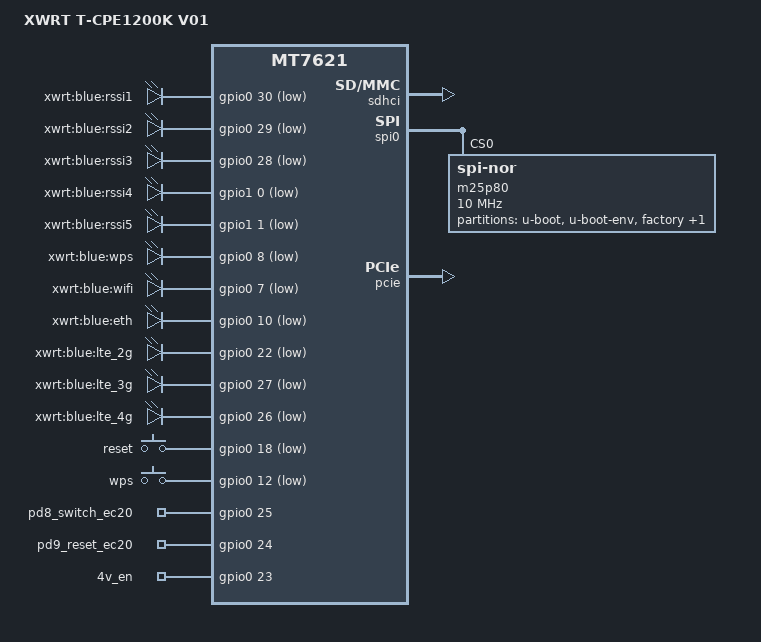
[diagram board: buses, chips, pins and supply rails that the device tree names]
/dts-v1/;

#include "mt7621.dtsi"

#include <dt-bindings/gpio/gpio.h>
#include <dt-bindings/input/input.h>

/ {
	compatible = "xwrt,t-cpe1200k-v01", "mediatek,mt7621-soc";
	model = "XWRT T-CPE1200K V01";

	aliases {
		led-boot = &led_wps;
		led-failsafe = &led_wps;
		led-running = &led_wps;
		led-upgrade = &led_wps;
	};

	chosen {
		bootargs = "console=ttyS0,57600";
	};

	leds {
		compatible = "gpio-leds";

		rssi1 {
			label = "xwrt:blue:rssi1";
			gpios = <&gpio0 30 GPIO_ACTIVE_LOW>;
		};

		rssi2 {
			label = "xwrt:blue:rssi2";
			gpios = <&gpio0 29 GPIO_ACTIVE_LOW>;
		};

		rssi3 {
			label = "xwrt:blue:rssi3";
			gpios = <&gpio0 28 GPIO_ACTIVE_LOW>;
		};

		rssi4 {
			label = "xwrt:blue:rssi4";
			gpios = <&gpio1 0 GPIO_ACTIVE_LOW>;
		};

		rssi5 {
			label = "xwrt:blue:rssi5";
			gpios = <&gpio1 1 GPIO_ACTIVE_LOW>;
		};

		led_wps: wps {
			label = "xwrt:blue:wps";
			gpios = <&gpio0 8 GPIO_ACTIVE_LOW>;
		};

		wifi {
			label = "xwrt:blue:wifi";
			gpios = <&gpio0 7 GPIO_ACTIVE_LOW>;
		};

		eth {
			label = "xwrt:blue:eth";
			gpios = <&gpio0 10 GPIO_ACTIVE_LOW>;
		};

		lte_2g {
			label = "xwrt:blue:lte_2g";
			gpios = <&gpio0 22 GPIO_ACTIVE_LOW>;
		};

		lte_3g {
			label = "xwrt:blue:lte_3g";
			gpios = <&gpio0 27 GPIO_ACTIVE_LOW>;
		};

		lte_4g {
			label = "xwrt:blue:lte_4g";
			gpios = <&gpio0 26 GPIO_ACTIVE_LOW>;
		};
	};

	keys {
		compatible = "gpio-keys";

		reset {
			label = "reset";
			gpios = <&gpio0 18 GPIO_ACTIVE_LOW>;
			linux,code = <KEY_RESTART>;
		};

		wps {
			label = "wps";
			gpios = <&gpio0 12 GPIO_ACTIVE_LOW>;
			linux,code = <KEY_WPS_BUTTON>;
		};
	};

	gpio_export {
		compatible = "gpio-export";
		#size-cells = <0>;

		pd8_switch_ec20 {
			gpio-export,name = "pd8_switch_ec20";
			gpio-export,output = <1>;
			gpios = <&gpio0 25 GPIO_ACTIVE_HIGH>;
		};

		pd9_reset_ec20 {
			gpio-export,name = "pd9_reset_ec20";
			gpio-export,output = <1>;
			gpios = <&gpio0 24 GPIO_ACTIVE_HIGH>;
		};

		4v_en {
			gpio-export,name = "4v_en";
			gpio-export,output = <1>;
			gpios = <&gpio0 23 GPIO_ACTIVE_HIGH>;
		};
	};
};

&sdhci {
	status = "okay";
};

&spi0 {
	status = "okay";

	m25p80@0 {
		compatible = "jedec,spi-nor";
		reg = <0>;
		spi-max-frequency = <10000000>;

		partitions {
			compatible = "fixed-partitions";
			#address-cells = <1>;
			#size-cells = <1>;

			partition@0 {
				label = "u-boot";
				reg = <0x0 0x30000>;
				read-only;
			};

			partition@30000 {
				label = "u-boot-env";
				reg = <0x30000 0x10000>;
				read-only;
			};

			factory: partition@40000 {
				label = "factory";
				reg = <0x40000 0x10000>;
			};

			partition@50000 {
				compatible = "denx,uimage";
				label = "firmware";
				reg = <0x50000 0xfb0000>;
			};
		};
	};
};

&pcie {
	status = "okay";
};

&pcie0 {
	wifi@0,0 {
		reg = <0x0000 0 0 0 0>;
		mediatek,mtd-eeprom = <&factory 0x0000>;
	};
};

&pcie1 {
	wifi@0,0 {
		reg = <0x0000 0 0 0 0>;
		mediatek,mtd-eeprom = <&factory 0x8000>;
		ieee80211-freq-limit = <5000000 6000000>;
	};
};

&ethernet {
	mtd-mac-address = <&factory 0xe000>;
};

&pinctrl {
	state_default: pinctrl0 {
		gpio {
			ralink,group = "wdt", "rgmii2", "uart2", "uart3";
			ralink,function = "gpio";
		};
	};
};
